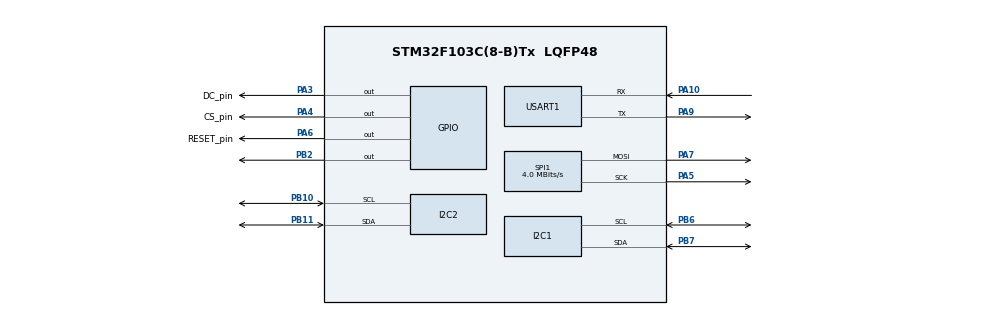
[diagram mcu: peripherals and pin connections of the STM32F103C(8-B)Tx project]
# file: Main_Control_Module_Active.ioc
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I2C1.OwnAddress=0x12
Mcu.Family=STM32F1
Mcu.Name=STM32F103C(8-B)Tx
Mcu.Package=LQFP48
NVIC.I2C1_ER_IRQn=true\:0\:0\:false\:false\:true\:true\:true\:true
NVIC.I2C1_EV_IRQn=true\:0\:0\:false\:false\:true\:true\:true\:true
NVIC.PriorityGroup=NVIC_PRIORITYGROUP_4
PA10.Mode=Asynchronous
PA10.Signal=USART1_RX
PA13.Mode=Serial_Wire
PA13.Signal=SYS_JTMS-SWDIO
PA14.Mode=Serial_Wire
PA14.Signal=SYS_JTCK-SWCLK
PA3.GPIO_Label=DC_pin
PA3.Signal=GPIO_Output
PA4.GPIO_Label=CS_pin
PA4.Signal=GPIO_Output
PA5.Mode=TX_Only_Simplex_Unidirect_Master
PA5.Signal=SPI1_SCK
PA6.GPIO_Label=RESET_pin
PA6.Signal=GPIO_Output
PA7.Mode=TX_Only_Simplex_Unidirect_Master
PA7.Signal=SPI1_MOSI
PA9.Mode=Asynchronous
PA9.Signal=USART1_TX
PB10.Mode=I2C
PB10.Signal=I2C2_SCL
PB11.Mode=I2C
PB11.Signal=I2C2_SDA
PB2.Signal=GPIO_Output
PB6.Mode=I2C
PB6.Signal=I2C1_SCL
PB7.Mode=I2C
PB7.Signal=I2C1_SDA
ProjectManager.HeapSize=0x200
ProjectManager.StackSize=0x400
ProjectManager.TargetToolchain=STM32CubeIDE
RCC.APB1Freq_Value=8000000
RCC.APB2Freq_Value=8000000
SPI1.CalculateBaudRate=4.0 MBits/s
SPI1.Direction=SPI_DIRECTION_2LINES
SPI1.Mode=SPI_MODE_MASTER
SPI1.VirtualType=VM_MASTER
USART1.VirtualMode=VM_ASYNC
board=custom

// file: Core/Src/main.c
/* USER CODE BEGIN Header */
/**
  ******************************************************************************
  * @file           : main.c
  * @brief          : Main program body
  ******************************************************************************
  * @attention
  *
  * Copyright (c) 2025 STMicroelectronics.
  * All rights reserved.
  *
  * This software is licensed under terms that can be found in the LICENSE file
  * in the root directory of this software component.
  * If no LICENSE file comes with this software, it is provided AS-IS.
  *
  ******************************************************************************
  */
/* USER CODE END Header */
#include "main.h"

/* USER CODE BEGIN Includes */
#include "I2C_Transmit.h"
#include "ssd1306.h"
#include "ssd1306_fonts.h"
#include "string.h"
#include "stdio.h"
/* USER CODE END Includes */

/* USER CODE BEGIN PD */
#define DI_Active_Address 0x10
#define DI_Standby_Address 0x12
#define AI_Active_Address 0x11
#define AI_Standby_Address 0x13
#define DO_Address 0x14
#define AO_Address 0x12
/* USER CODE END PD */

I2C_HandleTypeDef hi2c1;
I2C_HandleTypeDef hi2c2;

SPI_HandleTypeDef hspi1;

UART_HandleTypeDef huart1;

/* USER CODE BEGIN PV */
/* The digital input states are received as a byte from both the digital input modules(Active and Standby controllers)
 * Individual bits have to be extracted from the byte to get the original input pin states.
 */
uint8_t digitalData_active;
uint8_t digitalData_standby;

/* The analog input data are received as two bytes(MSB and LSB) from both the analog input modules(Active and Standby controllers)
 * Original analog-to-digital data is obtained by combining the contents of the buffer.
 */
uint8_t analogBuffer_active[2];
uint8_t analogBuffer_standby[2];
uint16_t analogData_active;
uint16_t analogData_standby;

// Display buffers(For testing purpose)
char analog_displayBuffer[4];
char digital_displayBuffer[9] = "";
/* USER CODE END PV */

void SystemClock_Config(void);
static void MX_GPIO_Init(void);
static void MX_I2C1_Init(void);
static void MX_I2C2_Init(void);
static void MX_SPI1_Init(void);
static void MX_USART1_UART_Init(void);

int main(void)
{

  /* MCU Configuration--------------------------------------------------------*/

  /* Reset of all peripherals, Initializes the Flash interface and the Systick. */
  HAL_Init();

  /* Configure the system clock */
  SystemClock_Config();

  /* Initialize all configured peripherals */
  MX_GPIO_Init();
  MX_I2C1_Init();
  MX_I2C2_Init();
  MX_SPI1_Init();
  MX_USART1_UART_Init();
  /* USER CODE BEGIN 2 */
  ssd1306_Init();
  //uart_buffer[0] = 0xAA; // Start byte for data framing in ESP32

  /* USER CODE END 2 */

  /* Infinite loop */
  /* USER CODE BEGIN WHILE */
  while (1)
  {

	  HAL_I2C_Master_Receive(&hi2c1, DI_Active_Address << 1, &digitalData_active, 1,100);
	  HAL_I2C_Master_Receive(&hi2c1, DI_Standby_Address << 1, &digitalData_standby, 1,100);
	  HAL_I2C_Master_Receive(&hi2c1, AI_Active_Address << 1, analogBuffer_active, 2, 100);
	  HAL_I2C_Master_Receive(&hi2c1, AI_Standby_Address << 1, analogBuffer_standby, 2, 100);

	  analogData_active = ((uint16_t) analogBuffer_active[0] << 8) | analogBuffer_active[1];
	  analogData_standby = ((uint16_t) analogBuffer_standby[0] << 8) | analogBuffer_standby[1];
	  /*for(int i = 0; i < 8; i++){
		digital_displayBuffer[i] = decodedBits[i] ? '1' : '0';
	}
	digital_displayBuffer[8] = '\0';

	sprintf(analog_displayBuffer, "%hu",analog_val);

	ssd1306_Fill(Black); // For the background color selection
	ssd1306_SetCursor(2, 0);	// To point to a pixel to start writing from
	ssd1306_WriteString("AO: ", Font_11x18, White); // To write the desired text on screen
	ssd1306_SetCursor(77,0);
	ssd1306_WriteString(analog_displayBuffer, Font_11x18 , White);
	ssd1306_SetCursor(2, 20);	// To point to a pixel to start writing from
	ssd1306_WriteString("DO: ", Font_11x18, White); // To write the desired text on screen
	ssd1306_SetCursor(35,20);
	ssd1306_WriteString(digital_displayBuffer, Font_11x18 , White);
	ssd1306_UpdateScreen();
	Transferring received data to digital output module
	* and analog output module
	*/
	//writeData(&digitalData,DO_Address,1);
	//HAL_UART_Transmit(&huart1, uart_buffer, 4, 1);
	//writeData(analogBuffer, AO_Address, 2);
    /* USER CODE END WHILE */

  }
}

void SystemClock_Config(void)
{
  RCC_OscInitTypeDef RCC_OscInitStruct = {0};
  RCC_ClkInitTypeDef RCC_ClkInitStruct = {0};

  /** Initializes the RCC Oscillators according to the specified parameters
  * in the RCC_OscInitTypeDef structure.
  */
  RCC_OscInitStruct.OscillatorType = RCC_OSCILLATORTYPE_HSI;
  RCC_OscInitStruct.HSIState = RCC_HSI_ON;
  RCC_OscInitStruct.HSICalibrationValue = RCC_HSICALIBRATION_DEFAULT;
  RCC_OscInitStruct.PLL.PLLState = RCC_PLL_NONE;
  if (HAL_RCC_OscConfig(&RCC_OscInitStruct) != HAL_OK)
  {
    Error_Handler();
  }

  /** Initializes the CPU, AHB and APB buses clocks
  */
  RCC_ClkInitStruct.ClockType = RCC_CLOCKTYPE_HCLK|RCC_CLOCKTYPE_SYSCLK
                              |RCC_CLOCKTYPE_PCLK1|RCC_CLOCKTYPE_PCLK2;
  RCC_ClkInitStruct.SYSCLKSource = RCC_SYSCLKSOURCE_HSI;
  RCC_ClkInitStruct.AHBCLKDivider = RCC_SYSCLK_DIV1;
  RCC_ClkInitStruct.APB1CLKDivider = RCC_HCLK_DIV1;
  RCC_ClkInitStruct.APB2CLKDivider = RCC_HCLK_DIV1;

  if (HAL_RCC_ClockConfig(&RCC_ClkInitStruct, FLASH_LATENCY_0) != HAL_OK)
  {
    Error_Handler();
  }
}

static void MX_I2C1_Init(void)
{

  hi2c1.Instance = I2C1;
  hi2c1.Init.ClockSpeed = 100000;
  hi2c1.Init.DutyCycle = I2C_DUTYCYCLE_2;
  hi2c1.Init.OwnAddress1 = 36;
  hi2c1.Init.AddressingMode = I2C_ADDRESSINGMODE_7BIT;
  hi2c1.Init.DualAddressMode = I2C_DUALADDRESS_DISABLE;
  hi2c1.Init.OwnAddress2 = 0;
  hi2c1.Init.GeneralCallMode = I2C_GENERALCALL_DISABLE;
  hi2c1.Init.NoStretchMode = I2C_NOSTRETCH_DISABLE;
  if (HAL_I2C_Init(&hi2c1) != HAL_OK)
  {
    Error_Handler();
  }

}

static void MX_I2C2_Init(void)
{

  hi2c2.Instance = I2C2;
  hi2c2.Init.ClockSpeed = 100000;
  hi2c2.Init.DutyCycle = I2C_DUTYCYCLE_2;
  hi2c2.Init.OwnAddress1 = 0;
  hi2c2.Init.AddressingMode = I2C_ADDRESSINGMODE_7BIT;
  hi2c2.Init.DualAddressMode = I2C_DUALADDRESS_DISABLE;
  hi2c2.Init.OwnAddress2 = 0;
  hi2c2.Init.GeneralCallMode = I2C_GENERALCALL_DISABLE;
  hi2c2.Init.NoStretchMode = I2C_NOSTRETCH_DISABLE;
  if (HAL_I2C_Init(&hi2c2) != HAL_OK)
  {
    Error_Handler();
  }

}

static void MX_SPI1_Init(void)
{

  /* SPI1 parameter configuration*/
  hspi1.Instance = SPI1;
  hspi1.Init.Mode = SPI_MODE_MASTER;
  hspi1.Init.Direction = SPI_DIRECTION_2LINES;
  hspi1.Init.DataSize = SPI_DATASIZE_8BIT;
  hspi1.Init.CLKPolarity = SPI_POLARITY_LOW;
  hspi1.Init.CLKPhase = SPI_PHASE_1EDGE;
  hspi1.Init.NSS = SPI_NSS_SOFT;
  hspi1.Init.BaudRatePrescaler = SPI_BAUDRATEPRESCALER_2;
  hspi1.Init.FirstBit = SPI_FIRSTBIT_MSB;
  hspi1.Init.TIMode = SPI_TIMODE_DISABLE;
  hspi1.Init.CRCCalculation = SPI_CRCCALCULATION_DISABLE;
  hspi1.Init.CRCPolynomial = 10;
  if (HAL_SPI_Init(&hspi1) != HAL_OK)
  {
    Error_Handler();
  }

}

static void MX_USART1_UART_Init(void)
{

  huart1.Instance = USART1;
  huart1.Init.BaudRate = 115200;
  huart1.Init.WordLength = UART_WORDLENGTH_8B;
  huart1.Init.StopBits = UART_STOPBITS_1;
  huart1.Init.Parity = UART_PARITY_NONE;
  huart1.Init.Mode = UART_MODE_TX_RX;
  huart1.Init.HwFlowCtl = UART_HWCONTROL_NONE;
  huart1.Init.OverSampling = UART_OVERSAMPLING_16;
  if (HAL_UART_Init(&huart1) != HAL_OK)
  {
    Error_Handler();
  }

}

static void MX_GPIO_Init(void)
{
  GPIO_InitTypeDef GPIO_InitStruct = {0};

  /* GPIO Ports Clock Enable */
  __HAL_RCC_GPIOA_CLK_ENABLE();
  __HAL_RCC_GPIOB_CLK_ENABLE();

  /*Configure GPIO pin Output Level */
  HAL_GPIO_WritePin(GPIOA, DC_pin_Pin|CS_pin_Pin|RESET_pin_Pin, GPIO_PIN_RESET);

  /*Configure GPIO pin Output Level */
  HAL_GPIO_WritePin(GPIOB, GPIO_PIN_2, GPIO_PIN_RESET);

  /*Configure GPIO pins : DC_pin_Pin CS_pin_Pin RESET_pin_Pin */
  GPIO_InitStruct.Pin = DC_pin_Pin|CS_pin_Pin|RESET_pin_Pin;
  GPIO_InitStruct.Mode = GPIO_MODE_OUTPUT_PP;
  GPIO_InitStruct.Pull = GPIO_NOPULL;
  GPIO_InitStruct.Speed = GPIO_SPEED_FREQ_LOW;
  HAL_GPIO_Init(GPIOA, &GPIO_InitStruct);

  /*Configure GPIO pin : PB2 */
  GPIO_InitStruct.Pin = GPIO_PIN_2;
  GPIO_InitStruct.Mode = GPIO_MODE_OUTPUT_PP;
  GPIO_InitStruct.Pull = GPIO_NOPULL;
  GPIO_InitStruct.Speed = GPIO_SPEED_FREQ_LOW;
  HAL_GPIO_Init(GPIOB, &GPIO_InitStruct);

}

void Error_Handler(void)
{
  __disable_irq();
  while (1)
  {
  }
}
